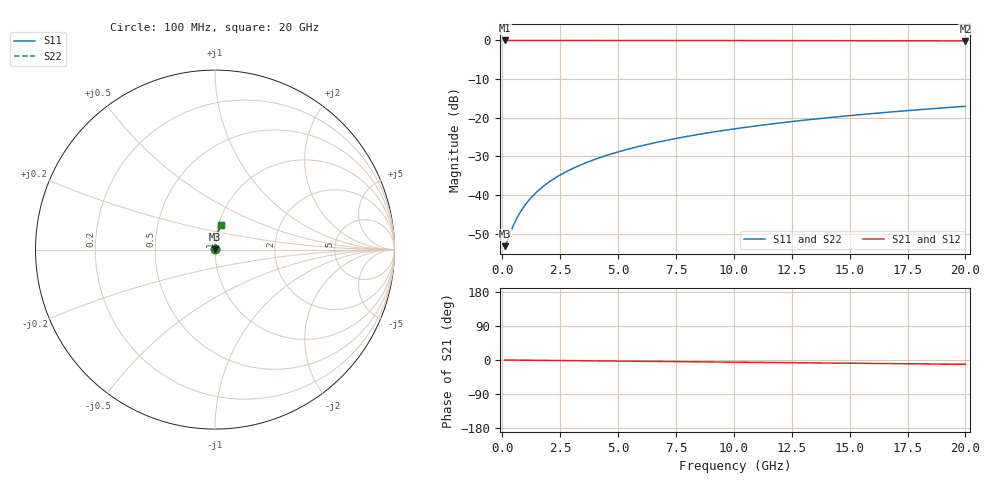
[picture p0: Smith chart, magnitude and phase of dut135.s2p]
! Touchstone file exported from HFSS 2026.1.0
!  File:  C:/ffzhzh/LocalFiles/Ansys_Project_Files/temp_train_TSV_135_1782990256_45328.aedt
!  Generated:  07:07:27 PM Jul  2, 2026
!  Design:  TSV
!  Project:  temp_train_TSV_135_1782990256_45328
! Variables:
!  h_bsmrdl = 2um
!  h_ox = 20um
!  h_rdl = 5um
!  h_sub = 75.01um
!  h_tmrdl = 5um
!  h_tsv = 75.01um
!  h_via = 3um
!  l_bsmrdl = 300um
!  l_sub = 404.08um
!  l_tmrdl = 200um
!  m_sub = 200um
!  pitch = 43.88um
!  r_tsv = 2.04um
!  s_tmrdl = 10um
!  w_bsmrdl = 18um
!  w_sub = 500um
!  w_tmrdl = 12um
!  x_tsv_center1 = 206um
!  x_tsv_center2 = 524um
!  x_tsv_center3 = 736um
!  x_tsv_center4 = 1054um
!  x_tsv_center5 = 1266um
!  x_tsv_center6 = 1584um
# GHz S MA R 50.000000
! Terminal data exported
! Port[1] = TSV1_1_T1
! Port[2] = TSV1_1_T2
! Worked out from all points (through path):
!   200 points, 100 MHz to 20 GHz, reference 50 ohm
!   highest |S21| = -0.02 dB at 100 MHz (marker M1); lowest = -0.1 dB at 20 GHz (marker M2)
!   group delay of S21, straight-line fit = 1.57 ps
!   lowest |S11| = -53.2 dB at 100 MHz (marker M3), VSWR 1.00, Z = 50.2 + j0.0732 ohm
!   |S11| at or under -10 dB: start of sweep to end of sweep
!   |S22| runs from -53.2 to -17.0 dB; largest |S21 - S12| = 3e-15
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0.1  0.002194 19.4  0.9979 -0.1  0.9979 -0.1  0.002194 19.4
! Gamma 0 0 0 0
! Port Impedance 50 0 50 0
0.2  0.002535 35.1  0.9979 -0.1  0.9979 -0.1  0.002535 35.1
0.4  0.003585 54.3  0.9979 -0.2  0.9979 -0.2  0.003585 54.3
0.5  0.004201 60.0  0.9979 -0.3  0.9979 -0.3  0.004201 60.0
0.7  0.005514 67.2  0.9979 -0.4  0.9979 -0.4  0.005514 67.2
0.8  0.006192 69.7  0.9979 -0.5  0.9979 -0.5  0.006192 69.7
1  0.007573 73.2  0.9979 -0.6  0.9979 -0.6  0.007573 73.2
1.3  0.009679 76.6  0.9978 -0.7  0.9978 -0.7  0.009679 76.6
1.7  0.01252 79.2  0.9978 -1.0  0.9978 -1.0  0.01252 79.2
2.2  0.01609 81.0  0.9977 -1.3  0.9977 -1.3  0.01609 81.0
2.8  0.0204 82.2  0.9976 -1.6  0.9976 -1.6  0.0204 82.2
3.5  0.02543 82.9  0.9974 -2.0  0.9974 -2.0  0.02543 82.9
4.2  0.03046 83.3  0.9972 -2.4  0.9972 -2.4  0.03046 83.3
5  0.0362 83.4  0.997 -2.9  0.997 -2.9  0.0362 83.4
5.9  0.04266 83.3  0.9966 -3.4  0.9966 -3.4  0.04266 83.3
6.8  0.04909 83.1  0.9963 -3.9  0.9963 -3.9  0.04909 83.1
8.3  0.05978 82.6  0.9955 -4.8  0.9955 -4.8  0.05978 82.6
10.1  0.07252 81.9  0.9944 -5.8  0.9944 -5.8  0.07252 81.9
11.7  0.08376 81.2  0.9933 -6.7  0.9933 -6.7  0.08376 81.2
13.4  0.09562 80.3  0.992 -7.6  0.992 -7.6  0.09562 80.3
16.7  0.1184 78.7  0.9891 -9.5  0.9891 -9.5  0.1184 78.7
20  0.1407 77.0  0.9858 -11.3  0.9858 -11.3  0.1407 77.0
